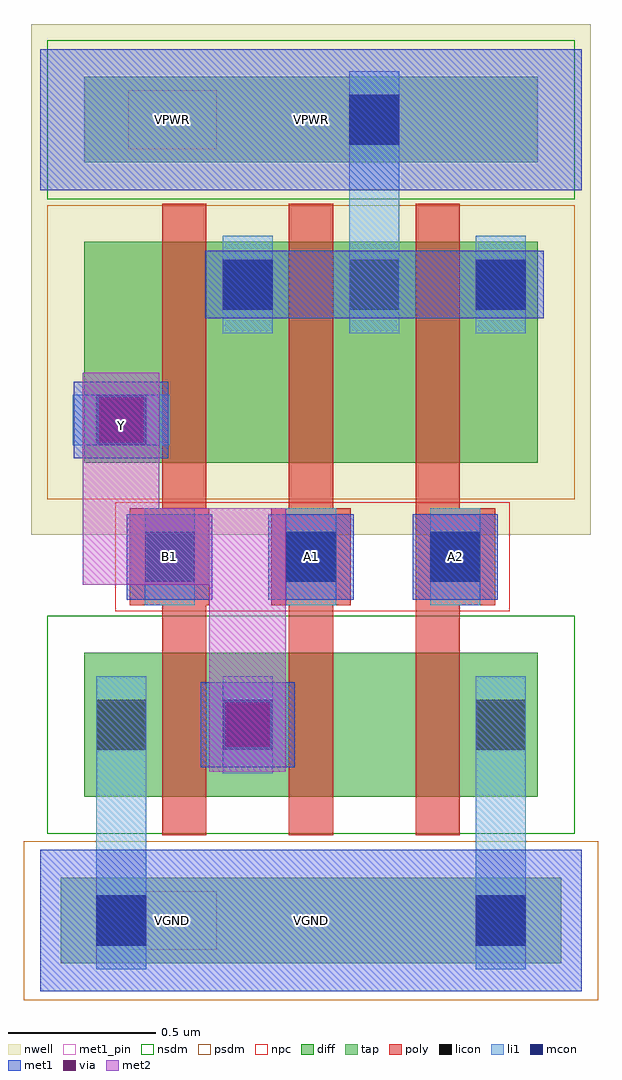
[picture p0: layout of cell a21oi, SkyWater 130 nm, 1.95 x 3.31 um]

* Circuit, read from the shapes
.subckt a21oi A1 A2 B1 VGND VPWR Y
XM1 Y B1 VGND VGND sky130_fd_pr__nfet_01v8 w=0.49 l=0.15
XM2 n1 A1 Y VGND sky130_fd_pr__nfet_01v8 w=0.49 l=0.15
XM3 VGND A2 n1 VGND sky130_fd_pr__nfet_01v8 w=0.49 l=0.15
XM4 n2 B1 Y VPWR sky130_fd_pr__pfet_01v8 w=0.75 l=0.15
XM5 VPWR A1 n2 VPWR sky130_fd_pr__pfet_01v8 w=0.75 l=0.15
XM6 n2 A2 VPWR VPWR sky130_fd_pr__pfet_01v8 w=0.75 l=0.15
.ends

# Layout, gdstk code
import gdstk
lib = gdstk.Library(unit=1e-6, precision=1e-09)
def R(c, l, rs):  # rectangles x0, y0, x1, y1
    for r in rs: c.add(gdstk.rectangle(r[:2], r[2:], *l))
def A(c, l, x, y, w, h, nx, ny, dx, dy):  # array of equal rectangles
    R(c, l, [(x+i*dx, y+j*dy, x+i*dx+w, y+j*dy+h) for i in range(nx) for j in range(ny)])
nwell = (64, 20)
diff = (65, 20)
tap = (65, 44)
poly = (66, 20)
licon = (66, 44)
li1 = (67, 20)
mcon = (67, 44)
met1_pin = (68, 16)
met1 = (68, 20)
via = (68, 44)
met2 = (69, 20)
nsdm = (93, 44)
psdm = (94, 20)
npc = (95, 20)

a21oi = lib.new_cell('a21oi')
R(a21oi, nwell, [(-0.03,1.31,1.87,3.045)])
R(a21oi, diff, [(0.15,0.42,1.69,0.91), (0.15,1.555,1.69,2.305)])
R(a21oi, tap, [(0.07,-0.145,1.77,0.145), (0.15,2.575,1.69,2.865)])
A(a21oi, poly, 0.415, 0.29, 0.15, 2.145, 3, 1, 0.43, 0)
R(a21oi, poly, [(0.305,1.07,0.575,1.4), (0.785,1.07,1.055,1.4), (1.275,1.07,1.545,1.4)])
A(a21oi, licon, 0.62, 2.075, 0.17, 0.17, 3, 1, 0.43, 0)
R(a21oi, licon, [(0.19,-0.085,0.36,0.085), (1.48,-0.085,1.65,0.085), (0.19,0.58,0.36,0.75), (0.62,0.58,0.79,0.75), (1.48,0.58,1.65,0.75), (0.355,1.15,0.525,1.32), (0.835,1.15,1.005,1.32), (1.325,1.15,1.495,1.32), (0.19,1.615,0.36,1.785), (1.05,2.635,1.22,2.805)])
R(a21oi, li1, [(0.19,-0.165,0.36,0.83), (1.48,-0.165,1.65,0.83), (0.62,0.5,0.79,0.83), (0.355,1.07,0.525,1.4), (0.835,1.07,1.005,1.4), (1.325,1.07,1.495,1.4), (0.11,1.615,0.44,1.785), (0.62,1.995,0.79,2.325), (1.05,1.995,1.22,2.885), (1.48,1.995,1.65,2.325)])
R(a21oi, mcon, [(0.19,-0.085,0.36,0.085), (1.48,-0.085,1.65,0.085), (0.62,0.58,0.79,0.75), (0.355,1.15,0.525,1.32), (0.835,1.15,1.005,1.32), (1.325,1.15,1.495,1.32), (0.19,1.615,0.36,1.785), (0.62,2.075,0.79,2.245), (1.48,2.075,1.65,2.245), (1.05,2.635,1.22,2.805)])
R(a21oi, met1_pin, [(0.3,-0.1,0.6,0.1), (0.295,1.09,0.585,1.38), (0.775,1.09,1.065,1.38), (1.265,1.09,1.555,1.38), (0.115,1.57,0.435,1.83), (0.3,2.62,0.6,2.82)])
R(a21oi, met1, [(0,-0.24,1.84,0.24), (0.545,0.52,0.865,0.81), (0.295,1.09,0.585,1.38), (0.775,1.09,1.065,1.38), (1.265,1.09,1.555,1.38), (0.115,1.57,0.435,1.83), (0.56,2.045,1.71,2.275), (0,2.48,1.84,2.96)])
R(a21oi, via, [(0.63,0.59,0.78,0.74), (0.2,1.625,0.35,1.775)])
R(a21oi, met2, [(0.575,0.505,0.835,1.4), (0.145,1.14,0.405,1.86), (0.145,1.14,0.835,1.4)])
R(a21oi, nsdm, [(0.025,0.295,1.815,1.035), (0.025,2.45,1.815,2.99)])
R(a21oi, psdm, [(-0.055,-0.27,1.895,0.27), (0.025,1.43,1.815,2.43)])
R(a21oi, npc, [(0.255,1.05,1.595,1.42)])
a21oi.add(gdstk.Label('VGND', (0.92,0), layer=68, texttype=5))
a21oi.add(gdstk.Label('VPWR', (0.92,2.72), layer=68, texttype=5))
a21oi.add(gdstk.Label('B1', (0.44,1.235), layer=68, texttype=5))
a21oi.add(gdstk.Label('A1', (0.92,1.235), layer=68, texttype=5))
a21oi.add(gdstk.Label('A2', (1.41,1.235), layer=68, texttype=5))
a21oi.add(gdstk.Label('Y', (0.275,1.68), layer=68, texttype=5))
a21oi.add(gdstk.Label('VGND', (0.45,0), layer=68, texttype=16))
a21oi.add(gdstk.Label('VPWR', (0.45,2.72), layer=68, texttype=16))
a21oi.add(gdstk.Label('B1', (0.44,1.235), layer=68, texttype=16))
a21oi.add(gdstk.Label('A1', (0.92,1.235), layer=68, texttype=16))
a21oi.add(gdstk.Label('A2', (1.41,1.235), layer=68, texttype=16))
a21oi.add(gdstk.Label('Y', (0.275,1.7), layer=68, texttype=16))

lib.write_gds('a21oi.gds')
